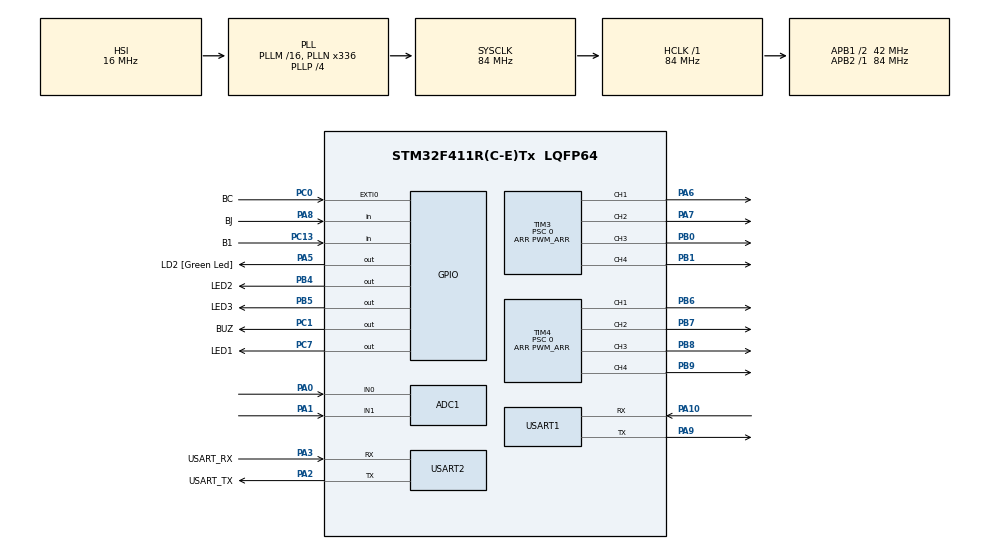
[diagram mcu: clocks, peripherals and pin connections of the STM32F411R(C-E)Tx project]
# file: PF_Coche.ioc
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ADC1.Channel-0\#ChannelRegularConversion=ADC_CHANNEL_0
ADC1.Channel-1\#ChannelRegularConversion=ADC_CHANNEL_1
ADC1.DMAContinuousRequests=ENABLE
ADC1.DiscontinuousConvMode=DISABLE
ADC1.ExternalTrigConv=ADC_EXTERNALTRIGCONV_T2_TRGO
ADC1.NbrOfConversion=2
ADC1.NbrOfConversionFlag=1
ADC1.Rank-0\#ChannelRegularConversion=1
ADC1.Rank-1\#ChannelRegularConversion=2
ADC1.SamplingTime-0\#ChannelRegularConversion=ADC_SAMPLETIME_28CYCLES
ADC1.SamplingTime-1\#ChannelRegularConversion=ADC_SAMPLETIME_28CYCLES
ADC1.master=1
Dma.ADC1.0.Direction=DMA_PERIPH_TO_MEMORY
Dma.ADC1.0.FIFOMode=DMA_FIFOMODE_DISABLE
Dma.ADC1.0.Instance=DMA2_Stream0
Dma.ADC1.0.MemDataAlignment=DMA_MDATAALIGN_HALFWORD
Dma.ADC1.0.MemInc=DMA_MINC_ENABLE
Dma.ADC1.0.Mode=DMA_CIRCULAR
Dma.ADC1.0.PeriphDataAlignment=DMA_PDATAALIGN_HALFWORD
Dma.ADC1.0.PeriphInc=DMA_PINC_DISABLE
Dma.ADC1.0.Priority=DMA_PRIORITY_HIGH
Dma.Request0=ADC1
Dma.Request1=USART2_RX
Dma.Request2=USART1_RX
Dma.Request3=USART2_TX
Dma.Request4=USART1_TX
Dma.USART1_RX.2.Direction=DMA_PERIPH_TO_MEMORY
Dma.USART1_RX.2.FIFOMode=DMA_FIFOMODE_DISABLE
Dma.USART1_RX.2.Instance=DMA2_Stream2
Dma.USART1_RX.2.MemDataAlignment=DMA_MDATAALIGN_BYTE
Dma.USART1_RX.2.MemInc=DMA_MINC_ENABLE
Dma.USART1_RX.2.Mode=DMA_NORMAL
Dma.USART1_RX.2.PeriphDataAlignment=DMA_PDATAALIGN_BYTE
Dma.USART1_RX.2.PeriphInc=DMA_PINC_DISABLE
Dma.USART1_RX.2.Priority=DMA_PRIORITY_LOW
Dma.USART1_TX.4.Direction=DMA_MEMORY_TO_PERIPH
Dma.USART1_TX.4.FIFOMode=DMA_FIFOMODE_DISABLE
Dma.USART1_TX.4.Instance=DMA2_Stream7
Dma.USART1_TX.4.MemDataAlignment=DMA_MDATAALIGN_BYTE
Dma.USART1_TX.4.MemInc=DMA_MINC_ENABLE
Dma.USART1_TX.4.Mode=DMA_NORMAL
Dma.USART1_TX.4.PeriphDataAlignment=DMA_PDATAALIGN_BYTE
Dma.USART1_TX.4.PeriphInc=DMA_PINC_DISABLE
Dma.USART1_TX.4.Priority=DMA_PRIORITY_LOW
Dma.USART2_RX.1.Direction=DMA_PERIPH_TO_MEMORY
Dma.USART2_RX.1.FIFOMode=DMA_FIFOMODE_DISABLE
Dma.USART2_RX.1.Instance=DMA1_Stream5
Dma.USART2_RX.1.MemDataAlignment=DMA_MDATAALIGN_BYTE
Dma.USART2_RX.1.MemInc=DMA_MINC_ENABLE
Dma.USART2_RX.1.Mode=DMA_NORMAL
Dma.USART2_RX.1.PeriphDataAlignment=DMA_PDATAALIGN_BYTE
Dma.USART2_RX.1.PeriphInc=DMA_PINC_DISABLE
Dma.USART2_RX.1.Priority=DMA_PRIORITY_LOW
Dma.USART2_TX.3.Direction=DMA_MEMORY_TO_PERIPH
Dma.USART2_TX.3.FIFOMode=DMA_FIFOMODE_DISABLE
Dma.USART2_TX.3.Instance=DMA1_Stream6
Dma.USART2_TX.3.MemDataAlignment=DMA_MDATAALIGN_BYTE
Dma.USART2_TX.3.MemInc=DMA_MINC_ENABLE
Dma.USART2_TX.3.Mode=DMA_NORMAL
Dma.USART2_TX.3.PeriphDataAlignment=DMA_PDATAALIGN_BYTE
Dma.USART2_TX.3.PeriphInc=DMA_PINC_DISABLE
Dma.USART2_TX.3.Priority=DMA_PRIORITY_LOW
IWDG.Prescaler=IWDG_PRESCALER_64
IWDG.Reload=999
Mcu.Family=STM32F4
Mcu.Name=STM32F411R(C-E)Tx
Mcu.Package=LQFP64
Mcu.UserConstants=PWM_ARR,4999;PWM_CONVERSION,49
NVIC.DMA1_Stream5_IRQn=true\:0\:0\:false\:false\:true\:false\:true\:true
NVIC.DMA1_Stream6_IRQn=true\:0\:0\:false\:false\:true\:false\:true\:true
NVIC.DMA2_Stream0_IRQn=true\:0\:0\:false\:false\:true\:false\:true\:true
NVIC.DMA2_Stream2_IRQn=true\:0\:0\:false\:false\:true\:false\:true\:true
NVIC.DMA2_Stream7_IRQn=true\:0\:0\:false\:false\:true\:false\:true\:true
NVIC.PriorityGroup=NVIC_PRIORITYGROUP_0
NVIC.TIM5_IRQn=true\:0\:0\:false\:false\:true\:true\:true\:true
NVIC.USART1_IRQn=true\:0\:0\:false\:false\:true\:true\:true\:true
NVIC.USART2_IRQn=true\:0\:0\:false\:false\:true\:true\:true\:true
PA0-WKUP.Signal=ADCx_IN0
PA1.Signal=ADCx_IN1
PA10.Mode=Asynchronous
PA10.Signal=USART1_RX
PA13.GPIO_Label=TMS
PA13.Mode=Serial_Wire
PA13.Signal=SYS_JTMS-SWDIO
PA14.GPIO_Label=TCK
PA14.Mode=Serial_Wire
PA14.Signal=SYS_JTCK-SWCLK
PA2.GPIO_Label=USART_TX
PA2.Mode=Asynchronous
PA2.Signal=USART2_TX
PA3.GPIO_Label=USART_RX
PA3.Mode=Asynchronous
PA3.Signal=USART2_RX
PA5.GPIO_Label=LD2 [Green Led]
PA5.Signal=GPIO_Output
PA6.GPIO_Speed=GPIO_SPEED_FREQ_VERY_HIGH
PA6.Signal=S_TIM3_CH1
PA7.GPIO_Speed=GPIO_SPEED_FREQ_VERY_HIGH
PA7.Signal=S_TIM3_CH2
PA8.GPIO_Label=BJ
PA8.GPIO_PuPd=GPIO_PULLUP
PA8.Signal=GPIO_Input
PA9.Mode=Asynchronous
PA9.Signal=USART1_TX
PB0.GPIO_Speed=GPIO_SPEED_FREQ_VERY_HIGH
PB0.Signal=S_TIM3_CH3
PB1.GPIO_Speed=GPIO_SPEED_FREQ_VERY_HIGH
PB1.Signal=S_TIM3_CH4
PB3.GPIO_Label=SWO
PB3.Signal=SYS_JTDO-SWO
PB4.GPIO_Label=LED2
PB4.Signal=GPIO_Output
PB5.GPIO_Label=LED3
PB5.Signal=GPIO_Output
PB6.GPIO_Speed=GPIO_SPEED_FREQ_VERY_HIGH
PB6.Signal=S_TIM4_CH1
PB7.GPIO_Speed=GPIO_SPEED_FREQ_VERY_HIGH
PB7.Signal=S_TIM4_CH2
PB8.GPIO_Speed=GPIO_SPEED_FREQ_VERY_HIGH
PB8.Signal=S_TIM4_CH3
PB9.GPIO_Speed=GPIO_SPEED_FREQ_VERY_HIGH
PB9.Signal=S_TIM4_CH4
PC0.GPIO_Label=BC
PC0.GPIO_ModeDefaultEXTI=GPIO_MODE_IT_FALLING
PC0.GPIO_PuPd=GPIO_PULLDOWN
PC0.Signal=GPXTI0
PC1.GPIO_Label=BUZ
PC1.Signal=GPIO_Output
PC13-ANTI_TAMP.GPIO_Label=B1
PC13-ANTI_TAMP.Signal=GPIO_Input
PC14-OSC32_IN.Mode=LSE-External-Oscillator
PC14-OSC32_IN.Signal=RCC_OSC32_IN
PC15-OSC32_OUT.Mode=LSE-External-Oscillator
PC15-OSC32_OUT.Signal=RCC_OSC32_OUT
PC7.GPIO_Label=LED1
PC7.Signal=GPIO_Output
PH0\ -\ OSC_IN.Mode=HSE-External-Clock-Source
PH0\ -\ OSC_IN.Signal=RCC_OSC_IN
PH1\ -\ OSC_OUT.Mode=HSE-External-Clock-Source
PH1\ -\ OSC_OUT.Signal=RCC_OSC_OUT
ProjectManager.HeapSize=0x200
ProjectManager.StackSize=0x400
ProjectManager.TargetToolchain=STM32CubeIDE
RCC.48MHZClocksFreq_Value=84000000
RCC.AHBFreq_Value=84000000
RCC.APB1CLKDivider=RCC_HCLK_DIV2
RCC.APB1Freq_Value=42000000
RCC.APB1TimFreq_Value=84000000
RCC.APB2Freq_Value=84000000
RCC.APB2TimFreq_Value=84000000
RCC.CortexFreq_Value=84000000
RCC.FLatency-AdvancedSettings=FLASH_LATENCY_2
RCC.HCLKFreq_Value=84000000
RCC.HSE_VALUE=8000000
RCC.HSI_VALUE=16000000
RCC.PLLN=336
RCC.PLLP=RCC_PLLP_DIV4
RCC.SYSCLKFreq_VALUE=84000000
RCC.SYSCLKSource=RCC_SYSCLKSOURCE_PLLCLK
RCC.VCOOutputFreq_Value=336000000
SH.ADCx_IN0.0=ADC1_IN0,IN0
SH.ADCx_IN1.0=ADC1_IN1,IN1
SH.S_TIM3_CH1.0=TIM3_CH1,PWM Generation1 CH1
SH.S_TIM3_CH2.0=TIM3_CH2,PWM Generation2 CH2
SH.S_TIM3_CH3.0=TIM3_CH3,PWM Generation3 CH3
SH.S_TIM3_CH4.0=TIM3_CH4,PWM Generation4 CH4
SH.S_TIM4_CH1.0=TIM4_CH1,PWM Generation1 CH1
SH.S_TIM4_CH2.0=TIM4_CH2,PWM Generation2 CH2
SH.S_TIM4_CH3.0=TIM4_CH3,PWM Generation3 CH3
SH.S_TIM4_CH4.0=TIM4_CH4,PWM Generation4 CH4
TIM2.Period=999
TIM2.Prescaler=83
TIM2.TIM_MasterOutputTrigger=TIM_TRGO_UPDATE
TIM3.AutoReloadPreload=TIM_AUTORELOAD_PRELOAD_ENABLE
TIM3.Channel-PWM\ Generation1\ CH1=TIM_CHANNEL_1
TIM3.Channel-PWM\ Generation2\ CH2=TIM_CHANNEL_2
TIM3.Channel-PWM\ Generation3\ CH3=TIM_CHANNEL_3
TIM3.Channel-PWM\ Generation4\ CH4=TIM_CHANNEL_4
TIM3.Period=PWM_ARR
TIM3.Prescaler=0
TIM3.Pulse-PWM\ Generation1\ CH1=2500
TIM3.Pulse-PWM\ Generation2\ CH2=2500
TIM3.Pulse-PWM\ Generation3\ CH3=2500
TIM3.Pulse-PWM\ Generation4\ CH4=2500
TIM4.AutoReloadPreload=TIM_AUTORELOAD_PRELOAD_ENABLE
TIM4.Channel-PWM\ Generation1\ CH1=TIM_CHANNEL_1
TIM4.Channel-PWM\ Generation2\ CH2=TIM_CHANNEL_2
TIM4.Channel-PWM\ Generation3\ CH3=TIM_CHANNEL_3
TIM4.Channel-PWM\ Generation4\ CH4=TIM_CHANNEL_4
TIM4.Period=PWM_ARR
TIM4.Prescaler=0
TIM4.Pulse-PWM\ Generation1\ CH1=2500
TIM4.Pulse-PWM\ Generation2\ CH2=2500
TIM4.Pulse-PWM\ Generation3\ CH3=2500
TIM4.Pulse-PWM\ Generation4\ CH4=2500
TIM5.Period=4999
TIM5.Prescaler=8399
USART1.VirtualMode=VM_ASYNC
USART2.VirtualMode=VM_ASYNC
VP_IWDG_VS_IWDG.Mode=IWDG_Activate
VP_TIM2_VS_ClockSourceINT.Mode=Internal
VP_TIM3_VS_ClockSourceINT.Mode=Internal
VP_TIM4_VS_ClockSourceINT.Mode=Internal
VP_TIM5_VS_ClockSourceINT.Mode=Internal
board=NUCLEO-F411RE

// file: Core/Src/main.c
/* USER CODE BEGIN Header */
/**
  ******************************************************************************
  * @file           : main.c
  * @brief          : Main program body
  ******************************************************************************
  * @attention
  *
  * Copyright (c) 2026 STMicroelectronics.
  * All rights reserved.
  *
  * This software is licensed under terms that can be found in the LICENSE file
  * in the root directory of this software component.
  * If no LICENSE file comes with this software, it is provided AS-IS.
  *
  ******************************************************************************
  */
/* USER CODE END Header */
#include "main.h"
#include "tasks.h"

/* USER CODE BEGIN Includes */
#include <stdio.h>
#include <string.h>
/* USER CODE END Includes */

ADC_HandleTypeDef hadc1;
DMA_HandleTypeDef hdma_adc1;

IWDG_HandleTypeDef hiwdg;

TIM_HandleTypeDef htim2;
TIM_HandleTypeDef htim3;
TIM_HandleTypeDef htim4;
TIM_HandleTypeDef htim5;

UART_HandleTypeDef huart1;
UART_HandleTypeDef huart2;
DMA_HandleTypeDef hdma_usart1_rx;
DMA_HandleTypeDef hdma_usart1_tx;
DMA_HandleTypeDef hdma_usart2_rx;
DMA_HandleTypeDef hdma_usart2_tx;

/* USER CODE BEGIN PV */

extern volatile uint8_t movimiento_colision_flag;
extern volatile uint8_t movimiento_uartTimeout_flag;

/* USER CODE END PV */

void SystemClock_Config(void);
static void MX_GPIO_Init(void);
static void MX_DMA_Init(void);
static void MX_ADC1_Init(void);
static void MX_TIM3_Init(void);
static void MX_TIM4_Init(void);
static void MX_TIM5_Init(void);
static void MX_USART2_UART_Init(void);
static void MX_TIM2_Init(void);
static void MX_USART1_UART_Init(void);
static void MX_IWDG_Init(void);

/* USER CODE BEGIN 0 */

/**
 * @brief Handles timer period-elapsed events.
 *
 * @details Sets the UART timeout flag when TIM5 reaches its period.
 *
 * @param[in] htim  Timer handle that generated the event.
 */
void HAL_TIM_PeriodElapsedCallback(TIM_HandleTypeDef * htim)
{
    if (htim->Instance == TIM5)
    {
      movimiento_uartTimeout_flag = 1U;
    }
}

/**
 * @brief Handles the external interrupt on line 0.
 *
 * @details Clears the pending interrupt and requests collision handling
 *          unless the movement state machine is already in collision mode.
 */
void EXTI0_IRQHandler(void)
{
  if(EXTI->PR & 1U << 0)
  {
    /** Clear the pending EXTI bit by writing one to it. */
    EXTI->PR |= 1U << 0;
    if(MOVIMIENTO_Get_MovimientoEstado() != MOVIMIENTO_COLISION)
      movimiento_colision_flag = 1;
  }
}

/**
 * @brief Reports a task failure and halts normal scheduler operation.
 *
 * @details Sends an error message, turns on the status LED and remains in a
 *          watchdog-serviced loop.
 */
static void scheduler_error_handler(void)
{
  char mensaje[] = {"Ha ocurrido un error\r\n"};
  HAL_UART_Transmit(USART_TO_USE, (uint8_t*)mensaje, strlen(mensaje), HAL_MAX_DELAY);
  GPIOA->ODR |= 1U << 5;
  while(1)
  {
    HAL_IWDG_Refresh(&hiwdg);
  }
}

/* USER CODE END 0 */

/**
 * @brief Application entry point.
 *
 * @details Initializes the HAL, system clock and peripherals, handles
 *          watchdog-reset recovery, initializes the application tasks and
 *          runs the cooperative periodic scheduler.
 *
 * @return This function does not return.
 */
int main(void)
{

  /* USER CODE BEGIN 1 */

  task_t tasks[NUM_TASKS] = {
      {TASK_Movement, 1U, 0},
      {TASK_UART_Tx, 100U, 0},
      {TASK_UART_Rx, 50U, 0},
      {TASK_ADC, 5U, 0},
      {TASK_Polling_Buttons, 5U, 0},
  };

  /* USER CODE END 1 */

  /* MCU Configuration--------------------------------------------------------*/

  /* Reset of all peripherals, Initializes the Flash interface and the Systick. */
  HAL_Init();

  /* Configure the system clock */
  SystemClock_Config();

  /* Initialize all configured peripherals */
  MX_GPIO_Init();
  MX_DMA_Init();
  MX_ADC1_Init();
  MX_TIM3_Init();
  MX_TIM4_Init();
  MX_TIM5_Init();
  MX_USART2_UART_Init();
  MX_TIM2_Init();
  MX_USART1_UART_Init();
  MX_IWDG_Init();
  /* USER CODE BEGIN 2 */

  /** Recover from a previous reset caused by the independent watchdog. */
  if (__HAL_RCC_GET_FLAG(RCC_FLAG_IWDGRST) != 0U)
  {
    char texto_watchdog[] = {"Watchdog got tripped\r\n"};
    HAL_UART_Transmit(USART_TO_USE, (uint8_t *)texto_watchdog,
            (uint16_t)strlen(texto_watchdog), HAL_MAX_DELAY);
    char input[20];
    strcpy(input, "");
    while(1)
    {
      HAL_IWDG_Refresh(&hiwdg);
      HAL_UART_Receive(USART_TO_USE, (uint8_t*)input, sizeof(input), 500);
      HAL_GPIO_TogglePin(LD2_GPIO_Port, LD2_Pin);
      if(strncmp(input, "RESUME", 6) == 0)
        break;
    }
  }
  else
  {

  }
  /** Clear reset flags so the next boot can identify its reset cause. */
  __HAL_RCC_CLEAR_RESET_FLAGS();
  /** Turn off the watchdog-reset indicator after reset handling. */
  HAL_GPIO_WritePin(LD2_GPIO_Port, LD2_Pin, GPIO_PIN_RESET);

  /** Initialize the application task resources. */

  TASK_ADC_Init();
  TASK_Polling_Buttons_Init();
  TASK_UART_Rx_Init();

  /** Enable the external interrupt used to detect collisions. */
  NVIC_SetPriority(EXTI0_IRQn, 5);
  NVIC_EnableIRQ(EXTI0_IRQn);

  /* USER CODE END 2 */

  /* Infinite loop */
  /* USER CODE BEGIN WHILE */
  uint8_t i;
  while (1)
  {
    for(i = 0; i < NUM_TASKS; i++)
    {
      if(HAL_GetTick() - tasks[i].last_exec >= tasks[i].period_ms)
      {
        tasks[i].last_exec = HAL_GetTick();
        if(tasks[i].function() != TASK_OK)
          scheduler_error_handler();
      }
    }
    HAL_IWDG_Refresh(&hiwdg);
    /* USER CODE END WHILE */

  }
}

void SystemClock_Config(void)
{
  RCC_OscInitTypeDef RCC_OscInitStruct = {0};
  RCC_ClkInitTypeDef RCC_ClkInitStruct = {0};

  /** Configure the main internal regulator output voltage
  */
  __HAL_RCC_PWR_CLK_ENABLE();
  __HAL_PWR_VOLTAGESCALING_CONFIG(PWR_REGULATOR_VOLTAGE_SCALE1);

  /** Initializes the RCC Oscillators according to the specified parameters
  * in the RCC_OscInitTypeDef structure.
  */
  RCC_OscInitStruct.OscillatorType = RCC_OSCILLATORTYPE_HSI|RCC_OSCILLATORTYPE_LSI;
  RCC_OscInitStruct.HSIState = RCC_HSI_ON;
  RCC_OscInitStruct.HSICalibrationValue = RCC_HSICALIBRATION_DEFAULT;
  RCC_OscInitStruct.LSIState = RCC_LSI_ON;
  RCC_OscInitStruct.PLL.PLLState = RCC_PLL_ON;
  RCC_OscInitStruct.PLL.PLLSource = RCC_PLLSOURCE_HSI;
  RCC_OscInitStruct.PLL.PLLM = 16;
  RCC_OscInitStruct.PLL.PLLN = 336;
  RCC_OscInitStruct.PLL.PLLP = RCC_PLLP_DIV4;
  RCC_OscInitStruct.PLL.PLLQ = 4;
  if (HAL_RCC_OscConfig(&RCC_OscInitStruct) != HAL_OK)
  {
    Error_Handler();
  }

  /** Initializes the CPU, AHB and APB buses clocks
  */
  RCC_ClkInitStruct.ClockType = RCC_CLOCKTYPE_HCLK|RCC_CLOCKTYPE_SYSCLK
                              |RCC_CLOCKTYPE_PCLK1|RCC_CLOCKTYPE_PCLK2;
  RCC_ClkInitStruct.SYSCLKSource = RCC_SYSCLKSOURCE_PLLCLK;
  RCC_ClkInitStruct.AHBCLKDivider = RCC_SYSCLK_DIV1;
  RCC_ClkInitStruct.APB1CLKDivider = RCC_HCLK_DIV2;
  RCC_ClkInitStruct.APB2CLKDivider = RCC_HCLK_DIV1;

  if (HAL_RCC_ClockConfig(&RCC_ClkInitStruct, FLASH_LATENCY_2) != HAL_OK)
  {
    Error_Handler();
  }
}

static void MX_ADC1_Init(void)
{

  ADC_ChannelConfTypeDef sConfig = {0};

  /** Configure the global features of the ADC (Clock, Resolution, Data Alignment and number of conversion)
  */
  hadc1.Instance = ADC1;
  hadc1.Init.ClockPrescaler = ADC_CLOCK_SYNC_PCLK_DIV4;
  hadc1.Init.Resolution = ADC_RESOLUTION_12B;
  hadc1.Init.ScanConvMode = ENABLE;
  hadc1.Init.ContinuousConvMode = DISABLE;
  hadc1.Init.DiscontinuousConvMode = DISABLE;
  hadc1.Init.ExternalTrigConvEdge = ADC_EXTERNALTRIGCONVEDGE_RISING;
  hadc1.Init.ExternalTrigConv = ADC_EXTERNALTRIGCONV_T2_TRGO;
  hadc1.Init.DataAlign = ADC_DATAALIGN_RIGHT;
  hadc1.Init.NbrOfConversion = 2;
  hadc1.Init.DMAContinuousRequests = ENABLE;
  hadc1.Init.EOCSelection = ADC_EOC_SINGLE_CONV;
  if (HAL_ADC_Init(&hadc1) != HAL_OK)
  {
    Error_Handler();
  }

  /** Configure for the selected ADC regular channel its corresponding rank in the sequencer and its sample time.
  */
  sConfig.Channel = ADC_CHANNEL_0;
  sConfig.Rank = 1;
  sConfig.SamplingTime = ADC_SAMPLETIME_28CYCLES;
  if (HAL_ADC_ConfigChannel(&hadc1, &sConfig) != HAL_OK)
  {
    Error_Handler();
  }

  /** Configure for the selected ADC regular channel its corresponding rank in the sequencer and its sample time.
  */
  sConfig.Channel = ADC_CHANNEL_1;
  sConfig.Rank = 2;
  if (HAL_ADC_ConfigChannel(&hadc1, &sConfig) != HAL_OK)
  {
    Error_Handler();
  }

}

static void MX_IWDG_Init(void)
{

  hiwdg.Instance = IWDG;
  hiwdg.Init.Prescaler = IWDG_PRESCALER_64;
  hiwdg.Init.Reload = 999;
  if (HAL_IWDG_Init(&hiwdg) != HAL_OK)
  {
    Error_Handler();
  }

}

static void MX_TIM2_Init(void)
{

  TIM_ClockConfigTypeDef sClockSourceConfig = {0};
  TIM_MasterConfigTypeDef sMasterConfig = {0};

  htim2.Instance = TIM2;
  htim2.Init.Prescaler = 83;
  htim2.Init.CounterMode = TIM_COUNTERMODE_UP;
  htim2.Init.Period = 999;
  htim2.Init.ClockDivision = TIM_CLOCKDIVISION_DIV1;
  htim2.Init.AutoReloadPreload = TIM_AUTORELOAD_PRELOAD_DISABLE;
  if (HAL_TIM_Base_Init(&htim2) != HAL_OK)
  {
    Error_Handler();
  }
  sClockSourceConfig.ClockSource = TIM_CLOCKSOURCE_INTERNAL;
  if (HAL_TIM_ConfigClockSource(&htim2, &sClockSourceConfig) != HAL_OK)
  {
    Error_Handler();
  }
  sMasterConfig.MasterOutputTrigger = TIM_TRGO_UPDATE;
  sMasterConfig.MasterSlaveMode = TIM_MASTERSLAVEMODE_DISABLE;
  if (HAL_TIMEx_MasterConfigSynchronization(&htim2, &sMasterConfig) != HAL_OK)
  {
    Error_Handler();
  }

}

static void MX_TIM3_Init(void)
{

  TIM_ClockConfigTypeDef sClockSourceConfig = {0};
  TIM_MasterConfigTypeDef sMasterConfig = {0};
  TIM_OC_InitTypeDef sConfigOC = {0};

  htim3.Instance = TIM3;
  htim3.Init.Prescaler = 0;
  htim3.Init.CounterMode = TIM_COUNTERMODE_UP;
  htim3.Init.Period = PWM_ARR;
  htim3.Init.ClockDivision = TIM_CLOCKDIVISION_DIV1;
  htim3.Init.AutoReloadPreload = TIM_AUTORELOAD_PRELOAD_ENABLE;
  if (HAL_TIM_Base_Init(&htim3) != HAL_OK)
  {
    Error_Handler();
  }
  sClockSourceConfig.ClockSource = TIM_CLOCKSOURCE_INTERNAL;
  if (HAL_TIM_ConfigClockSource(&htim3, &sClockSourceConfig) != HAL_OK)
  {
    Error_Handler();
  }
  if (HAL_TIM_PWM_Init(&htim3) != HAL_OK)
  {
    Error_Handler();
  }
  sMasterConfig.MasterOutputTrigger = TIM_TRGO_RESET;
  sMasterConfig.MasterSlaveMode = TIM_MASTERSLAVEMODE_DISABLE;
  if (HAL_TIMEx_MasterConfigSynchronization(&htim3, &sMasterConfig) != HAL_OK)
  {
    Error_Handler();
  }
  sConfigOC.OCMode = TIM_OCMODE_PWM1;
  sConfigOC.Pulse = 2500;
  sConfigOC.OCPolarity = TIM_OCPOLARITY_HIGH;
  sConfigOC.OCFastMode = TIM_OCFAST_DISABLE;
  if (HAL_TIM_PWM_ConfigChannel(&htim3, &sConfigOC, TIM_CHANNEL_1) != HAL_OK)
  {
    Error_Handler();
  }
  if (HAL_TIM_PWM_ConfigChannel(&htim3, &sConfigOC, TIM_CHANNEL_2) != HAL_OK)
  {
    Error_Handler();
  }
  if (HAL_TIM_PWM_ConfigChannel(&htim3, &sConfigOC, TIM_CHANNEL_3) != HAL_OK)
  {
    Error_Handler();
  }
  if (HAL_TIM_PWM_ConfigChannel(&htim3, &sConfigOC, TIM_CHANNEL_4) != HAL_OK)
  {
    Error_Handler();
  }
  HAL_TIM_MspPostInit(&htim3);

}

static void MX_TIM4_Init(void)
{

  TIM_ClockConfigTypeDef sClockSourceConfig = {0};
  TIM_MasterConfigTypeDef sMasterConfig = {0};
  TIM_OC_InitTypeDef sConfigOC = {0};

  htim4.Instance = TIM4;
  htim4.Init.Prescaler = 0;
  htim4.Init.CounterMode = TIM_COUNTERMODE_UP;
  htim4.Init.Period = PWM_ARR;
  htim4.Init.ClockDivision = TIM_CLOCKDIVISION_DIV1;
  htim4.Init.AutoReloadPreload = TIM_AUTORELOAD_PRELOAD_ENABLE;
  if (HAL_TIM_Base_Init(&htim4) != HAL_OK)
  {
    Error_Handler();
  }
  sClockSourceConfig.ClockSource = TIM_CLOCKSOURCE_INTERNAL;
  if (HAL_TIM_ConfigClockSource(&htim4, &sClockSourceConfig) != HAL_OK)
  {
    Error_Handler();
  }
  if (HAL_TIM_PWM_Init(&htim4) != HAL_OK)
  {
    Error_Handler();
  }
  sMasterConfig.MasterOutputTrigger = TIM_TRGO_RESET;
  sMasterConfig.MasterSlaveMode = TIM_MASTERSLAVEMODE_DISABLE;
  if (HAL_TIMEx_MasterConfigSynchronization(&htim4, &sMasterConfig) != HAL_OK)
  {
    Error_Handler();
  }
  sConfigOC.OCMode = TIM_OCMODE_PWM1;
  sConfigOC.Pulse = 2500;
  sConfigOC.OCPolarity = TIM_OCPOLARITY_HIGH;
  sConfigOC.OCFastMode = TIM_OCFAST_DISABLE;
  if (HAL_TIM_PWM_ConfigChannel(&htim4, &sConfigOC, TIM_CHANNEL_1) != HAL_OK)
  {
    Error_Handler();
  }
  if (HAL_TIM_PWM_ConfigChannel(&htim4, &sConfigOC, TIM_CHANNEL_2) != HAL_OK)
  {
    Error_Handler();
  }
  if (HAL_TIM_PWM_ConfigChannel(&htim4, &sConfigOC, TIM_CHANNEL_3) != HAL_OK)
  {
    Error_Handler();
  }
  if (HAL_TIM_PWM_ConfigChannel(&htim4, &sConfigOC, TIM_CHANNEL_4) != HAL_OK)
  {
    Error_Handler();
  }
  HAL_TIM_MspPostInit(&htim4);

}

static void MX_TIM5_Init(void)
{

  TIM_ClockConfigTypeDef sClockSourceConfig = {0};
  TIM_MasterConfigTypeDef sMasterConfig = {0};

  htim5.Instance = TIM5;
  htim5.Init.Prescaler = 8399;
  htim5.Init.CounterMode = TIM_COUNTERMODE_UP;
  htim5.Init.Period = 4999;
  htim5.Init.ClockDivision = TIM_CLOCKDIVISION_DIV1;
  htim5.Init.AutoReloadPreload = TIM_AUTORELOAD_PRELOAD_DISABLE;
  if (HAL_TIM_Base_Init(&htim5) != HAL_OK)
  {
    Error_Handler();
  }
  sClockSourceConfig.ClockSource = TIM_CLOCKSOURCE_INTERNAL;
  if (HAL_TIM_ConfigClockSource(&htim5, &sClockSourceConfig) != HAL_OK)
  {
    Error_Handler();
  }
  sMasterConfig.MasterOutputTrigger = TIM_TRGO_RESET;
  sMasterConfig.MasterSlaveMode = TIM_MASTERSLAVEMODE_DISABLE;
  if (HAL_TIMEx_MasterConfigSynchronization(&htim5, &sMasterConfig) != HAL_OK)
  {
    Error_Handler();
  }

}

static void MX_USART1_UART_Init(void)
{

  huart1.Instance = USART1;
  huart1.Init.BaudRate = 115200;
  huart1.Init.WordLength = UART_WORDLENGTH_8B;
  huart1.Init.StopBits = UART_STOPBITS_1;
  huart1.Init.Parity = UART_PARITY_NONE;
  huart1.Init.Mode = UART_MODE_TX_RX;
  huart1.Init.HwFlowCtl = UART_HWCONTROL_NONE;
  huart1.Init.OverSampling = UART_OVERSAMPLING_16;
  if (HAL_UART_Init(&huart1) != HAL_OK)
  {
    Error_Handler();
  }

}

static void MX_USART2_UART_Init(void)
{

  huart2.Instance = USART2;
  huart2.Init.BaudRate = 115200;
  huart2.Init.WordLength = UART_WORDLENGTH_8B;
  huart2.Init.StopBits = UART_STOPBITS_1;
  huart2.Init.Parity = UART_PARITY_NONE;
  huart2.Init.Mode = UART_MODE_TX_RX;
  huart2.Init.HwFlowCtl = UART_HWCONTROL_NONE;
  huart2.Init.OverSampling = UART_OVERSAMPLING_16;
  if (HAL_UART_Init(&huart2) != HAL_OK)
  {
    Error_Handler();
  }

}

static void MX_DMA_Init(void)
{

  /* DMA controller clock enable */
  __HAL_RCC_DMA2_CLK_ENABLE();
  __HAL_RCC_DMA1_CLK_ENABLE();

  /* DMA interrupt init */
  /* DMA1_Stream5_IRQn interrupt configuration */
  HAL_NVIC_SetPriority(DMA1_Stream5_IRQn, 0, 0);
  HAL_NVIC_EnableIRQ(DMA1_Stream5_IRQn);
  /* DMA1_Stream6_IRQn interrupt configuration */
  HAL_NVIC_SetPriority(DMA1_Stream6_IRQn, 0, 0);
  HAL_NVIC_EnableIRQ(DMA1_Stream6_IRQn);
  /* DMA2_Stream0_IRQn interrupt configuration */
  HAL_NVIC_SetPriority(DMA2_Stream0_IRQn, 0, 0);
  HAL_NVIC_EnableIRQ(DMA2_Stream0_IRQn);
  /* DMA2_Stream2_IRQn interrupt configuration */
  HAL_NVIC_SetPriority(DMA2_Stream2_IRQn, 0, 0);
  HAL_NVIC_EnableIRQ(DMA2_Stream2_IRQn);
  /* DMA2_Stream7_IRQn interrupt configuration */
  HAL_NVIC_SetPriority(DMA2_Stream7_IRQn, 0, 0);
  HAL_NVIC_EnableIRQ(DMA2_Stream7_IRQn);

}

static void MX_GPIO_Init(void)
{
  GPIO_InitTypeDef GPIO_InitStruct = {0};

  /* GPIO Ports Clock Enable */
  __HAL_RCC_GPIOC_CLK_ENABLE();
  __HAL_RCC_GPIOH_CLK_ENABLE();
  __HAL_RCC_GPIOA_CLK_ENABLE();
  __HAL_RCC_GPIOB_CLK_ENABLE();

  /*Configure GPIO pin Output Level */
  HAL_GPIO_WritePin(GPIOC, BUZ_Pin|LED1_Pin, GPIO_PIN_RESET);

  /*Configure GPIO pin Output Level */
  HAL_GPIO_WritePin(LD2_GPIO_Port, LD2_Pin, GPIO_PIN_RESET);

  /*Configure GPIO pin Output Level */
  HAL_GPIO_WritePin(GPIOB, LED2_Pin|LED3_Pin, GPIO_PIN_RESET);

  /*Configure GPIO pin : B1_Pin */
  GPIO_InitStruct.Pin = B1_Pin;
  GPIO_InitStruct.Mode = GPIO_MODE_INPUT;
  GPIO_InitStruct.Pull = GPIO_NOPULL;
  HAL_GPIO_Init(B1_GPIO_Port, &GPIO_InitStruct);

  /*Configure GPIO pin : BC_Pin */
  GPIO_InitStruct.Pin = BC_Pin;
  GPIO_InitStruct.Mode = GPIO_MODE_IT_FALLING;
  GPIO_InitStruct.Pull = GPIO_PULLDOWN;
  HAL_GPIO_Init(BC_GPIO_Port, &GPIO_InitStruct);

  /*Configure GPIO pins : BUZ_Pin LED1_Pin */
  GPIO_InitStruct.Pin = BUZ_Pin|LED1_Pin;
  GPIO_InitStruct.Mode = GPIO_MODE_OUTPUT_PP;
  GPIO_InitStruct.Pull = GPIO_NOPULL;
  GPIO_InitStruct.Speed = GPIO_SPEED_FREQ_LOW;
  HAL_GPIO_Init(GPIOC, &GPIO_InitStruct);

  /*Configure GPIO pin : LD2_Pin */
  GPIO_InitStruct.Pin = LD2_Pin;
  GPIO_InitStruct.Mode = GPIO_MODE_OUTPUT_PP;
  GPIO_InitStruct.Pull = GPIO_NOPULL;
  GPIO_InitStruct.Speed = GPIO_SPEED_FREQ_LOW;
  HAL_GPIO_Init(LD2_GPIO_Port, &GPIO_InitStruct);

  /*Configure GPIO pin : BJ_Pin */
  GPIO_InitStruct.Pin = BJ_Pin;
  GPIO_InitStruct.Mode = GPIO_MODE_INPUT;
  GPIO_InitStruct.Pull = GPIO_PULLUP;
  HAL_GPIO_Init(BJ_GPIO_Port, &GPIO_InitStruct);

  /*Configure GPIO pins : LED2_Pin LED3_Pin */
  GPIO_InitStruct.Pin = LED2_Pin|LED3_Pin;
  GPIO_InitStruct.Mode = GPIO_MODE_OUTPUT_PP;
  GPIO_InitStruct.Pull = GPIO_NOPULL;
  GPIO_InitStruct.Speed = GPIO_SPEED_FREQ_LOW;
  HAL_GPIO_Init(GPIOB, &GPIO_InitStruct);

}

void Error_Handler(void)
{
  __disable_irq();
  while (1)
  {
  }
}
